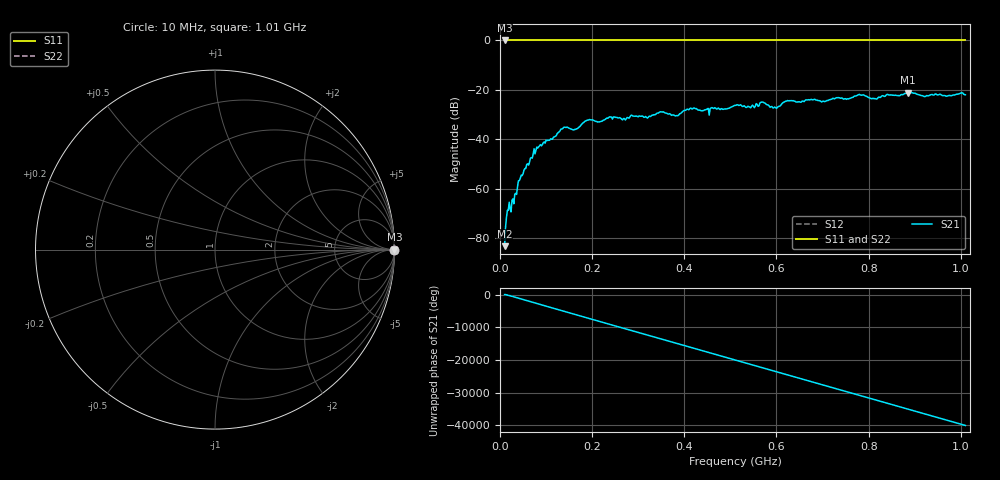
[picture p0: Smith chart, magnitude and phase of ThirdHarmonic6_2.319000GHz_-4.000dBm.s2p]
! 8/17/2025 3:16:26 AM
! C:\ANRITSUVNA\TEMP\TEMP.S2P
! CHANNEL.1
! TR.MEASUREMENT
! RAW.DATA
! RF.CORRECTION.OFF
! AVERAGING.OFF
! IF.BANDWIDTH: 5KHZ
! SWEEPTYPE:  FREQ.SWEEP(Linear)
! Reference Plane Port Info
! PORT:  PORT1  PORT2
! DISTANCE:  0  m  0  m
! TIME:  0  s  0  s
! PHASE.OFFSET:  0  deg.  0  deg.
! LOSS:  0  dB  0  dB
! REF.LOSS:  0  dB  0  dB
! REF.FREQ:  0  Hz  0  Hz
! Power Info
! POWER:  -20  dBm  -20  dBm
! EFF.POWER:  -20  dBm  -20  dBm
! SOURCE.ATTEN:  0  dB  0  dB
! TEST.ATTEN:  0  dB  0  dB
# GHZ S RI R 50.0
! FREQ.GHZ  S11RE  S11IM  S21RE  S21IM  S12RE  S12IM  S22RE  S22IM
!; PortSelection: Port_12
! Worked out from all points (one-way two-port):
!   501 points, 10 MHz to 1.01 GHz, reference 50 ohm
!   highest |S21| = -21.09 dB at 886 MHz (marker M1); lowest = -83.2 dB at 10 MHz (marker M2)
!   lowest |S11| = 0.0 dB at 10 MHz (marker M3)
!   |S11| at or under -10 dB: nowhere
!   |S22| runs from 0.0 to 0.0 dB; largest |S21 - S12| = 1.1
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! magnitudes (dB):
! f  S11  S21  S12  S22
! 10 MHz  0.0  -83.2  0.0  0.0
! 18 MHz  0.0  -68.8  0.0  0.0
! 26 MHz  0.0  -64.6  0.0  0.0
! 44 MHz  0.0  -55.8  0.0  0.0
! 76 MHz  0.0  -45.9  0.0  0.0
! 136 MHz  0.0  -35.7  0.0  0.0
! 162 MHz  0.0  -36.0  0.0  0.0
! 178 MHz  0.0  -33.7  0.0  0.0
! 192 MHz  0.0  -32.2  0.0  0.0
! 322 MHz  0.0  -31.0  0.0  0.0
! 344 MHz  0.0  -29.4  0.0  0.0
! 384 MHz  0.0  -30.4  0.0  0.0
! 416 MHz  0.0  -27.7  0.0  0.0
! 510 MHz  0.0  -26.3  0.0  0.0
! 570 MHz  0.0  -24.9  0.0  0.0
! 596 MHz  0.0  -26.9  0.0  0.0
! 624 MHz  0.0  -24.3  0.0  0.0
! 678 MHz  0.0  -24.0  0.0  0.0
! 814 MHz  0.0  -23.5  0.0  0.0
! 844 MHz  0.0  -22.1  0.0  0.0
! 886 MHz  0.0  -21.1  0.0  0.0
! 1.01 GHz  0.0  -22.0  0.0  0.0
